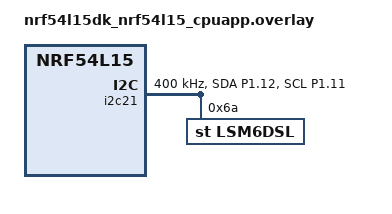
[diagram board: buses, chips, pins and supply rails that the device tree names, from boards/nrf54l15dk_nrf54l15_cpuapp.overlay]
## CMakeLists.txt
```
cmake_minimum_required(VERSION 3.20.0)
find_package(Zephyr REQUIRED HINTS $ENV{ZEPHYR_BASE})

project(nRF54L15_telemetry)

target_sources(app PRIVATE
    src/main.cpp
    src/sensor/ImuSensor.cpp
    src/ble/TelemetryService.cpp
    src/can/CanSimulator.cpp
    src/can/CanGatewayService.cpp
    src/led/LedIndicator.cpp
)

target_include_directories(app PRIVATE src)
```

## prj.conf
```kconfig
# =============================================================================
# C++ support
# =============================================================================
CONFIG_CPP=y
CONFIG_STD_CPP17=y
CONFIG_GLIBCXX_LIBCPP=y
CONFIG_CPP_RTTI=y
# CONFIG_CPP_EXCEPTIONS is intentionally NOT set

# =============================================================================
# Logging
# =============================================================================
CONFIG_LOG=y
CONFIG_CBPRINTF_FP_SUPPORT=y

# =============================================================================
# Boot delay — gives the LSM6DS3TR-C time to complete power-on reset before
# the lsm6dsl driver's init runs and writes to CTRL3_C over I2C
# =============================================================================
CONFIG_BOOT_DELAY=100

# =============================================================================
# Sensor subsystem + LSM6DSL driver
# =============================================================================
CONFIG_SENSOR=y
CONFIG_LSM6DSL=y
CONFIG_LSM6DSL_ACCEL_ODR=4
CONFIG_LSM6DSL_GYRO_ODR=4
CONFIG_LSM6DSL_TRIGGER_NONE=y

# =============================================================================
# BLE — peripheral role, custom GATT service
# =============================================================================
CONFIG_BT=y
CONFIG_BT_PERIPHERAL=y
CONFIG_BT_DEVICE_NAME="NordicTelemetry"
CONFIG_BT_EATT=y

# =============================================================================
# LED status indicator
# =============================================================================
CONFIG_DK_LIBRARY=y

# System work queue stack — needs headroom for I2C sensor reads triggered by
# the notify timer work item
CONFIG_SYSTEM_WORKQUEUE_STACK_SIZE=2048
```

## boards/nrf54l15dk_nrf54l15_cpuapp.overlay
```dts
/*
 * Devicetree overlay for LSM6DS3TR-C IMU on nRF54L15 DK
 *
 * Wiring:
 *   SDA → P1.12
 *   SCL → P1.11
 *
 * The LSM6DS3TR-C is register-compatible with the ST LSM6DSL Zephyr driver.
 *
 * I2C address: 0x6a (SA0 pin low). Change to 0x6b if your breakout has SA0 high.
 *
 * On nRF54L15, the TWIM instances are exposed as i2c20/i2c21/i2c22 in the DTS
 * (not twim20/twim21). We use i2c21 here — it shares the same peripheral block
 * address as uart21/spi21 but those are disabled.
 */

&pinctrl {
	/omit-if-no-ref/ i2c21_default: i2c21_default {
		group1 {
			psels = <NRF_PSEL(TWIM_SDA, 1, 12)>,
			        <NRF_PSEL(TWIM_SCL, 1, 11)>;
			bias-pull-up;
		};
	};

	/omit-if-no-ref/ i2c21_sleep: i2c21_sleep {
		group1 {
			psels = <NRF_PSEL(TWIM_SDA, 1, 12)>,
			        <NRF_PSEL(TWIM_SCL, 1, 11)>;
			low-power-enable;
		};
	};
};

&i2c21 {
	status = "okay";
	pinctrl-0 = <&i2c21_default>;
	pinctrl-1 = <&i2c21_sleep>;
	pinctrl-names = "default", "sleep";
	clock-frequency = <I2C_BITRATE_FAST>;

	lsm6dsl@6a {
		compatible = "st,lsm6dsl";
		reg = <0x6a>;
	};
};
```

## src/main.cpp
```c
#include <zephyr/kernel.h>
#include <zephyr/logging/log.h>

#include "sensor/ImuSensor.hpp"
#include "ble/TelemetryService.hpp"
#include "can/CanSimulator.hpp"
#include "can/CanGatewayService.hpp"
#include "led/LedIndicator.hpp"

LOG_MODULE_REGISTER(main, LOG_LEVEL_INF);

static ImuSensor         imu;
static TelemetryService  ble;
static CanSimulator      can_sim;
static CanGatewayService can_gw;
static LedIndicator      leds;

int main()
{
    if (!leds.init()) {
        LOG_ERR("LED init failed");
        return -1;
    }

    if (!imu.init()) {
        LOG_ERR("IMU init failed — check wiring and overlay");
        return -1;
    }

    if (!ble.init(imu)) {
        LOG_ERR("BLE init failed");
        return -1;
    }

    if (!can_sim.init()) {
        LOG_ERR("CAN sim init failed");
        return -1;
    }

    if (!can_gw.init(can_sim)) {
        LOG_ERR("CAN gateway init failed");
        return -1;
    }

    k_sleep(K_FOREVER);
    return 0;
}
```
